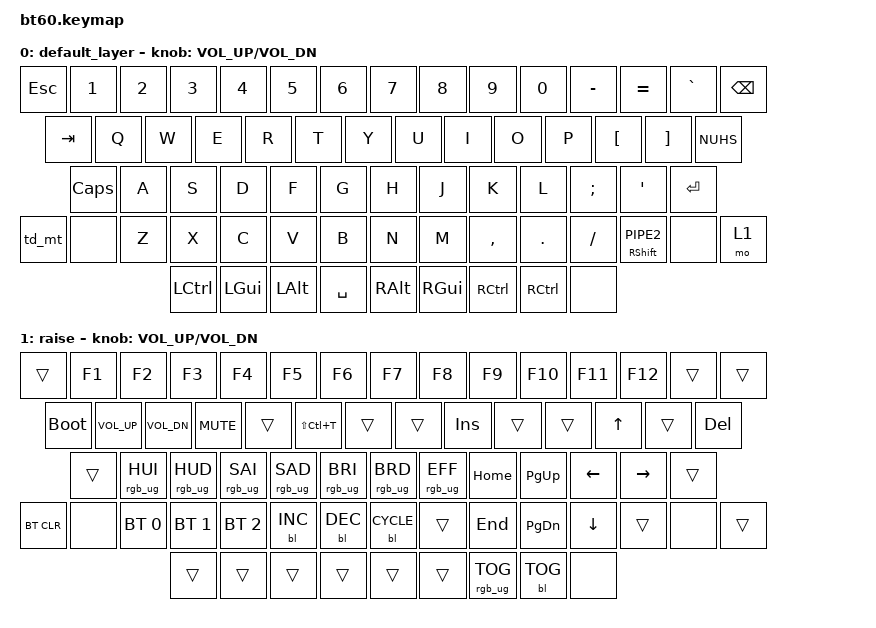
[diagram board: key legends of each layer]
#include <behaviors.dtsi>
#include <dt-bindings/zmk/keys.h>
#include <dt-bindings/zmk/bt.h>
#include <dt-bindings/zmk/rgb.h>
#include <dt-bindings/zmk/backlight.h>

/ {
    behaviors {
        td_mt: tap_dance_mod_tap {
            compatible = "zmk,behavior-tap-dance";
            label = "TAP_DANCE_MOD_TAP";
            #binding-cells = <0>;
            tapping-term-ms = <150>;
            bindings = <&mt LSHIFT NUBS>, <&kp CAPSLOCK>;
        };
    };
    
    keymap {
		compatible = "zmk,keymap";

		default_layer {
				// ------------------------------------------------------------------------------------------
				// | ESC |  1  |  2  |  3  |  4  |  5  |  6  |  7  |  8  |  9  |  0  |  -  |  =  |BKSP | DEL |
				// | TAB  |  Q  |  W  |  E  |  R  |  T  |  Y  |  U  |  I  |  O  |  P  |  [  |  ]  |  |   |
				// | CAPS  |  A  |  S  |  D  |  F  |  G  |  H  |  J  |  K  |  L  |  ;  |  '  |     ENTER    |
				// |  SHIFT|NONE|  Z  |  X  |  C  |  V  |  B  |  N  |  M  |  ,  |  .  | /   | SHFT | UP | 1  |
				// |  CTL  |  WIN  |  ALT  |            SPACE              | ALT | CTRL | LEFT | DOWN | RIGHT |
				// ------------------------------------------------------------------------------------------
			bindings = <
				&kp ESC &kp N1 &kp N2 &kp N3 &kp N4 &kp N5 &kp N6 &kp N7 &kp  N8   &kp  N9 &kp  N0  &kp MINUS &kp EQUAL &kp GRAVE &kp BSPC
				&kp TAB  &kp Q  &kp W  &kp E  &kp R  &kp T  &kp Y  &kp U  &kp  I    &kp  O  &kp  P   &kp LBKT &kp RBKT  &kp NUHS
				&kp CLCK  &kp A  &kp S  &kp D  &kp F  &kp G  &kp H  &kp J  &kp  K    &kp  L  &kp SEMI &kp SQT           &kp RET
				&td_mt    &none  &kp Z  &kp X  &kp C  &kp V  &kp B  &kp N  &kp M  &kp COMMA &kp DOT &kp FSLH    &mt RSHIFT PIPE2 &none   &mo 1
				&kp LCTRL &kp LGUI &kp LALT            &kp SPACE                          &kp RALT  &kp RGUI &kp RCTRL &kp RCTRL &none
			>;
			sensor-bindings = <&inc_dec_kp C_VOL_UP C_VOL_DN>;
		};
		raise {
			bindings = <
				&trans &kp F1 &kp F2 &kp F3 &kp F4 &kp F5 &kp F6 &kp F7 &kp  F8   &kp  F9 &kp  F10  &kp F11 &kp F12   &trans &trans
				&bootloader &kp C_VOL_UP &kp C_VOL_DN &kp C_MUTE &trans &kp LS(LC(T)) &trans &trans &kp INS &trans &trans &kp UP &trans &kp DEL
				&trans    &rgb_ug RGB_HUI &rgb_ug RGB_HUD &rgb_ug RGB_SAI &rgb_ug RGB_SAD &rgb_ug RGB_BRI &rgb_ug RGB_BRD &rgb_ug RGB_EFF &kp HOME  &kp PG_UP &kp LEFT  &kp RIGHT   &trans
				&bt BT_CLR &none &bt BT_SEL 0 &bt BT_SEL 1 &bt BT_SEL 2 &bl BL_INC &bl BL_DEC &bl BL_CYCLE &trans &kp END &kp PG_DN &kp DOWN &trans &none &trans
				&trans &trans  &trans              &trans                            &trans  &trans &rgb_ug RGB_TOG   &bl BL_TOG &none
			>;
			sensor-bindings = <&inc_dec_kp C_VOL_UP C_VOL_DN>;
		};
	};
};
